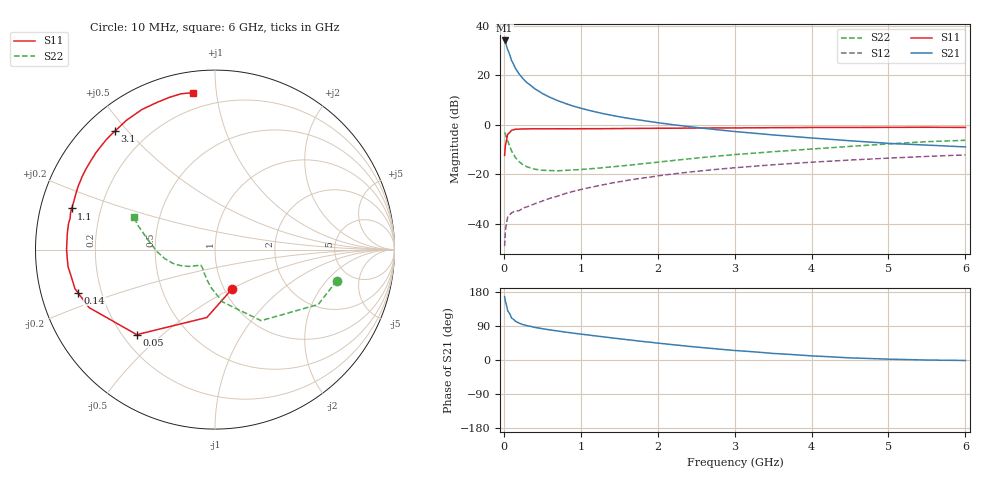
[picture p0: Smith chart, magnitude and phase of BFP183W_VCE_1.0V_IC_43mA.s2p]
! Infineon Technologies  Discrete & RF Semiconductors
! BFP183W
! VCE =  1.0 V,  IC =  43 mA
! Common Emitter S-Parameters:  Jan 2017
# GHz  S  MA  R  50
!  f  S11  S21  S12  S22
! GHz  MAG  ANG  MAG  ANG  MAG  ANG  MAG  ANG
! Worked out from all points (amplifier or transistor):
!   77 points, 10 MHz to 6 GHz, reference 50 ohm
!   highest |S21| = 34.1 dB at 10 MHz (marker M1)
!   |S21| within 3 dB of that: start of sweep to 42.98 MHz
!   unconditionally stable (mu >= 1): start of sweep to 13.37 MHz; 284.2 MHz to end of sweep
!   at 130 MHz: K = 0.59, MSG = 29.7 dB, |S12| = -35.2 dB
!   at 2.2 GHz: K = 1.42, MAG = 6.1 dB, |S12| = -19.9 dB
!   at 6 GHz: K = 1.30, MAG = -1.7 dB, |S12| = -12.2 dB
!   S11 on the Smith chart (normalised r, x): 10 MHz: 1.08, -0.51; 50 MHz: 0.26, -0.41; 140 MHz: 0.11, -0.15; 1.1 GHz: 0.09, +0.14; 3.1 GHz: 0.09, +0.46; 6 GHz: 0.11, +0.87
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0.01  0.2402 -67.1  50.62 167.4  0.0035 75.1  0.7002 -14.3
0.02  0.3812 -96.9  47.1 154.7  0.0071 67.1  0.6516 -28.0
0.05  0.6439 -132.6  33.26 129.5  0.0136 47.7  0.4715 -57.1
0.1  0.772 -155.2  19.98 110.7  0.0165 38.2  0.295 -81.6
0.14  0.8009 -162.6  15.07 104.6  0.0177 36.5  0.2315 -91.5
0.15  0.8101 -164.4  13.88 102.4  0.018 36.1  0.2171 -94.9
0.2  0.8155 -169.7  10.56 97.1  0.0183 39.1  0.1781 -103.7
0.25  0.8243 -173.4  8.507 93.3  0.0207 40.2  0.1553 -110.4
0.3  0.8244 -176.0  7.106 90.6  0.0218 42.8  0.1412 -115.8
0.4  0.8271 179.9  5.364 86.1  0.0251 48.5  0.1262 -122.9
0.5  0.8262 176.8  4.292 82.6  0.0286 51.9  0.12 -127.3
0.6  0.8276 174.2  3.584 79.4  0.0326 55.1  0.1184 -130.7
0.7  0.8281 172.1  3.074 76.6  0.0359 58.2  0.1171 -132.6
0.9  0.8258 167.8  2.388 70.9  0.0449 61.5  0.1218 -134.9
1.1  0.831 164.0  1.967 65.9  0.0531 62.9  0.1281 -136.9
1.5  0.8373 156.8  1.451 56.1  0.0701 63.0  0.145 -141.4
2.1  0.8489 145.9  1.05 42.6  0.0967 61.1  0.1819 -149.3
2.6  0.8574 137.8  0.846 32.3  0.1181 57.9  0.219 -156.6
3.1  0.8641 130.2  0.707 23.7  0.1387 54.3  0.2555 -164.1
4.1  0.8798 116.3  0.526 9.9  0.1783 46.5  0.3308 -179.8
5.1  0.8857 105.8  0.413 1.8  0.2145 38.5  0.4184 166.0
6  0.8828 97.8  0.356 -1.3  0.2458 31.1  0.4848 158.2
